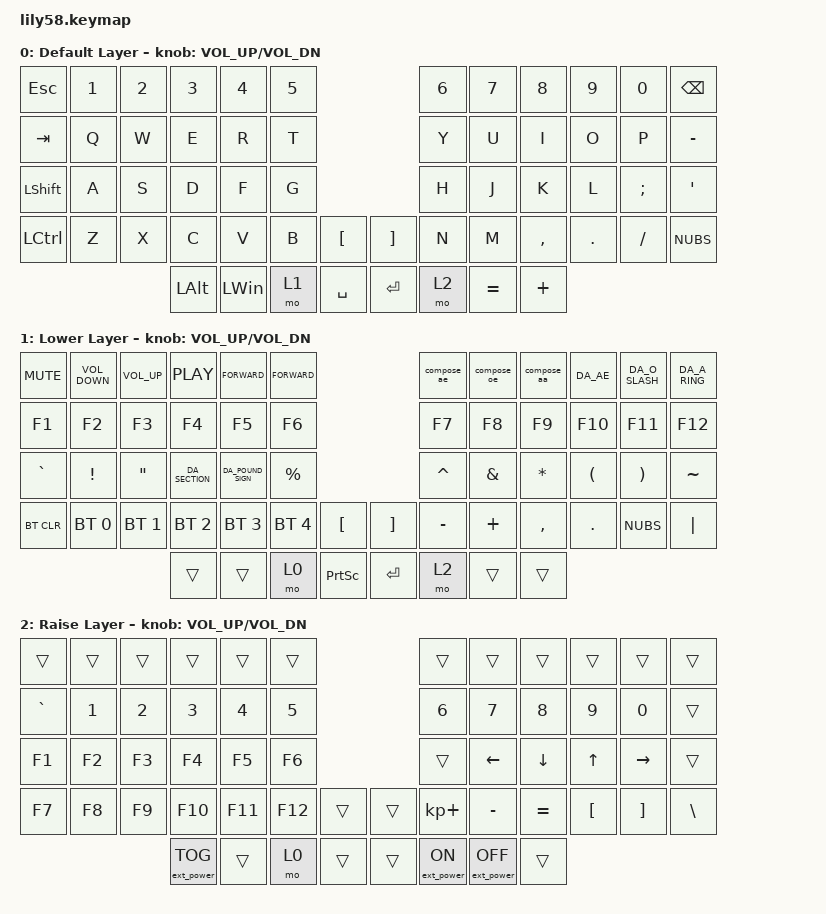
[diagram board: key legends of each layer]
/*
 * Copyright (c) 2020 The ZMK Contributors
 *
 * SPDX-License-Identifier: MIT
 */

#include <behaviors.dtsi>
#include <dt-bindings/zmk/bt.h>
#include <dt-bindings/zmk/ext_power.h>
#include <dt-bindings/zmk/keys.h>
#include "keys_da.h"

/ {
    behaviors {
        compose_ae: compose_ae {
            compatible = "zmk,behavior-macro";
            #binding-cells = <0>;
            bindings = <&kp RIGHT_CONTROL &kp A &kp E>;   // Compose + a + e => æ
        };

        compose_oe: compose_oe {
            compatible = "zmk,behavior-macro";
            #binding-cells = <0>;
            bindings = <&kp RIGHT_CONTROL &kp O &kp FSLH>; // Compose + o + / => ø
        };

        compose_aa: compose_aa {
            compatible = "zmk,behavior-macro";
            #binding-cells = <0>;
            bindings = <&kp RIGHT_CONTROL &kp A &kp A>;    // Compose + a + a => å
        };
    };
};

/ {
    macros {
    };

    keymap {
        compatible = "zmk,keymap";

        default_layer {
            display-name = "Default Layer";

            // ------------------------------------------------------------------------------------------------------------
            // |  ESC  |  1  |  2  |  3   |  4   |  5   |                   |  6   |  7    |  8    |  9   |   0   |   `   |
            // |  TAB  |  Q  |  W  |  E   |  R   |  T   |                   |  Y   |  U    |  I    |  O   |   P   |   -   |
            // |  CTRL |  A  |  S  |  D   |  F   |  G   |                   |  H   |  J    |  K    |  L   |   ;   |   '   |
            // | SHIFT |  Z  |  X  |  C   |  V   |  B   |   "["  |  |  "]"  |  N   |  M    |  ,    |  .   |   /   | SHIFT |
            //                     | ALT  | GUI  | LOWER|  SPACE |  | ENTER | RAISE| BSPC  | GUI   |

            bindings = <
&kp ESC         &kp N1  &kp N2  &kp N3    &kp N4        &kp N5                         &kp N6  &kp N7     &kp N8     &kp N9   &kp N0         &kp BACKSPACE
&kp TAB         &kp Q   &kp W   &kp E     &kp R         &kp T                          &kp Y   &kp U      &kp I      &kp O    &kp P          &kp MINUS
&kp LEFT_SHIFT  &kp A   &kp S   &kp D     &kp F         &kp G                          &kp H   &kp J      &kp K      &kp L    &kp SEMICOLON  &kp APOS
&kp LCTRL       &kp Z   &kp X   &kp C     &kp V         &kp B   &kp LBKT     &kp RBKT  &kp N   &kp M      &kp COMMA  &kp DOT  &kp FSLH       &kp NUBS
                                &kp LALT  &kp LEFT_WIN  &mo 1   &kp SPACE    &kp RET   &mo 2   &kp EQUAL  &kp PLUS
            >;

            sensor-bindings = <&inc_dec_kp C_VOL_UP C_VOL_DN>;
        };

        lower_layer {
            display-name = "Lower Layer";

            // ------------------------------------------------------------------------------------------------------------
            // | BTCLR | BT1 | BT2 |  BT3 |  BT4 |  BT5 |                   |      |       |       |      |       |       |
            // |  F1   |  F2 |  F3 |  F4  |  F5  |  F6  |                   |  F7  |  F8   |  F9   |  F10 |  F11  |  F12  |
            // |   `   |  !  |  @  |  #   |  $   |  %   |                   |  ^   |  &    |  *    |  (   |   )   |   ~   |
            // |       |     |     |      |      |      |        |  |       |      |  _    |  +    |  {   |   }   |  "|"  |
            //                     |      |      |      |        |  |       |      |       |       |

            bindings = <
&kp K_MUTE  &kp K_VOLUME_DOWN  &kp C_VOLUME_UP  &kp C_PLAY      &kp K_FORWARD      &kp K_FORWARD                                &compose_ae  &compose_oe  &compose_aa  &kp DA_AE  &kp DA_O_SLASH         &kp DA_A_RING
&kp F1      &kp F2             &kp F3           &kp F4          &kp F5             &kp F6                                       &kp F7       &kp F8       &kp F9       &kp F10    &kp F11                &kp F12
&kp GRAVE   &kp EXCL           &kp DQT          &kp DA_SECTION  &kp DA_POUND_SIGN  &kp PRCNT                                    &kp CARET    &kp AMPS     &kp ASTRK    &kp LPAR   &kp RIGHT_PARENTHESIS  &kp TILDE
&bt BT_CLR  &bt BT_SEL 0       &bt BT_SEL 1     &bt BT_SEL 2    &bt BT_SEL 3       &bt BT_SEL 4   &kp LBKT           &kp RBKT   &kp MINUS    &kp PLUS     &kp COMMA    &kp DOT    &kp NUBS               &kp PIPE
                                                &trans          &trans             &mo 0          &kp PRINTSCREEN    &kp ENTER  &mo 2        &trans       &trans
            >;

            sensor-bindings = <&inc_dec_kp C_VOL_UP C_VOL_DN>;
        };

        raise_layer {
            display-name = "Raise Layer";

            // ------------------------------------------------------------------------------------------------------------
            // |       |     |     |      |      |      |                   |      |       |       |      |       |       |
            // |   `   |  1  |  2  |  3   |  4   |  5   |                   |  6   |   7   |   8   |  9   |   0   |       |
            // |   F1  |  F2 |  F3 |  F4  |  F5  |  F6  |                   |      |   <-  |   v   |  ^   |  ->   |       |
            // |   F7  |  F8 |  F9 |  F10 |  F11 |  F12 |        |  |       |  +   |   -   |   =   |  [   |   ]   |   \   |
            //                     |      |      |      |        |  |       |      |       |       |

            bindings = <
&trans     &trans  &trans  &trans             &trans   &trans                     &trans            &trans             &trans     &trans    &trans     &trans
&kp GRAVE  &kp N1  &kp N2  &kp N3             &kp N4   &kp N5                     &kp N6            &kp N7             &kp N8     &kp N9    &kp N0     &trans
&kp F1     &kp F2  &kp F3  &kp F4             &kp F5   &kp F6                     &trans            &kp LEFT           &kp DOWN   &kp UP    &kp RIGHT  &trans
&kp F7     &kp F8  &kp F9  &kp F10            &kp F11  &kp F12  &trans    &trans  &kp KP_PLUS       &kp MINUS          &kp EQUAL  &kp LBKT  &kp RBKT   &kp BSLH
                           &ext_power EP_TOG  &trans   &mo 0    &trans    &trans  &ext_power EP_ON  &ext_power EP_OFF  &trans
            >;

            sensor-bindings = <&inc_dec_kp C_VOL_UP C_VOL_DN>;
        };
    };
};
